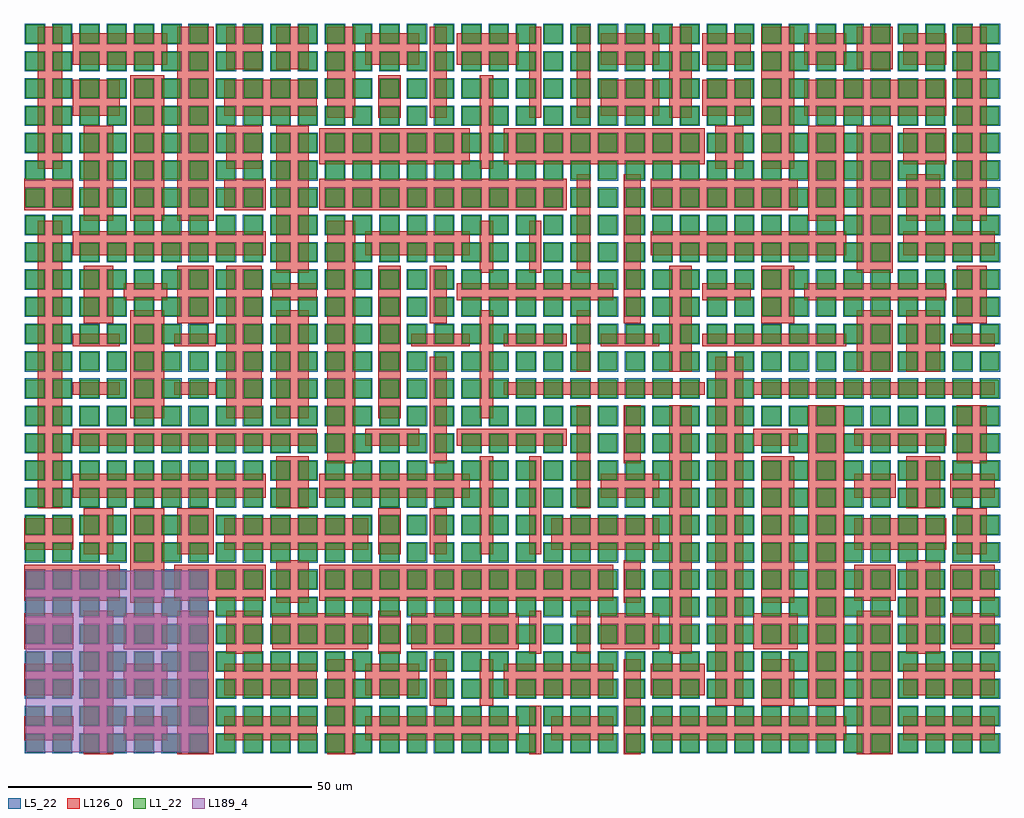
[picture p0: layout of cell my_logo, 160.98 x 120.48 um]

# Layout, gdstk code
import gdstk
lib = gdstk.Library(unit=1e-6, precision=1e-09)
def R(c, l, rs):  # rectangles x0, y0, x1, y1
    for r in rs: c.add(gdstk.rectangle(r[:2], r[2:], *l))
def A(c, l, x, y, w, h, nx, ny, dx, dy):  # array of equal rectangles
    R(c, l, [(x+i*dx, y+j*dy, x+i*dx+w, y+j*dy+h) for i in range(nx) for j in range(ny)])
L1_22 = (1, 22)
L5_22 = (5, 22)
L126_0 = (126, 0)
L189_4 = (189, 4)

my_logo = lib.new_cell('my_logo')
A(my_logo, L1_22, 0, 0, 3, 3, 36, 27, 4.5, 4.5)
A(my_logo, L5_22, -0.18, -0.18, 3.36, 3.36, 36, 27, 4.5, 4.5)
R(my_logo, L126_0, [(9.546,-0.3,14.454,23.349), (25.012,-0.3,30.988,23.349), (49.691,-0.3,54.309,15.349), (83,-0.3,85,7.712), (98.588,-0.3,101.412,15.349), (137.012,-0.3,142.988,23.349), (-0.3,2,7.846,6), (16.154,2,23.312,6), (32.688,2,47.991,6), (56.009,2,81.3,6), (86.7,2,96.888,6), (103.112,2,135.312,6), (144.688,2,159.846,6), (66.588,7.7,69.412,15.349), (74.891,7.7,77.109,15.349), (113.691,7.7,118.309,65.251), (121.293,7.7,126.707,15.349), (129.049,7.7,134.951,57.251), (-0.3,9.412,7.846,14.588), (16.154,9.412,23.312,14.588), (32.688,9.412,47.991,14.588), (56.009,9.412,64.888,14.588), (78.809,9.412,96.888,14.588), (103.112,9.412,111.991,14.588), (144.688,9.412,159.846,14.588), (33.049,16.288,38.951,23.349), (58.156,16.288,61.844,23.349), (83,16.288,85,23.349), (90.891,16.288,93.109,23.349), (106.156,16.288,109.844,57.251), (145.191,16.288,150.809,31.712), (-0.3,17.049,7.846,22.951), (16.154,17.049,23.312,22.951), (40.651,17.049,56.456,22.951), (63.544,17.049,81.3,22.951), (94.809,17.049,104.456,22.951), (120.009,17.049,127.349,22.951), (152.509,17.049,159.846,22.951), (17.191,24.651,22.809,40.3), (41.293,24.651,46.707,31.712), (98.588,24.651,101.412,31.712), (121.293,24.651,126.707,48.888), (-0.3,25.049,15.491,30.951), (24.509,25.049,39.593,30.951), (48.407,25.049,96.888,30.951), (136.651,25.049,143.491,30.951), (152.509,25.049,159.846,30.951), (9.546,32.651,14.454,40.3), (25.012,32.651,30.988,40.3), (58.156,32.651,61.844,40.3), (66.588,32.651,69.412,40.3), (74.891,32.651,77.109,48.888), (83,32.651,85,48.888), (153.546,32.651,158.454,40.3), (-0.3,33.412,7.846,38.588), (32.688,33.412,56.456,38.588), (86.7,33.412,104.456,38.588), (136.651,33.412,151.846,38.588), (2,40.288,6,87.712), (41.293,40.288,46.707,48.888), (90.891,40.288,93.109,57.251), (145.191,40.288,150.809,48.888), (7.7,42,39.593,46), (48.407,42,73.191,46), (94.809,42,104.456,46), (136.651,42,143.491,46), (152.509,42,159.846,46), (49.691,47.7,54.309,87.712), (66.588,47.7,69.412,65.251), (98.588,47.7,101.412,57.251), (153.546,47.7,158.454,57.251), (7.7,50.588,47.991,53.412), (56.009,50.588,64.888,53.412), (71.112,50.588,89.191,53.412), (120.009,50.588,127.349,53.412), (136.651,50.588,151.846,53.412), (17.191,55.112,22.809,72.888), (33.049,55.112,38.951,80.3), (41.293,55.112,46.707,72.888), (58.156,55.112,61.844,80.3), (74.891,55.112,77.109,72.888), (7.7,58.951,15.491,61.049), (24.509,58.951,31.349,61.049), (78.809,58.951,111.991,61.049), (120.009,58.951,159.846,61.049), (90.891,62.749,93.109,72.888), (106.156,62.749,109.844,80.3), (137.012,62.749,142.988,72.888), (145.191,62.749,150.809,72.888), (7.7,66.951,15.491,69.049), (24.509,66.951,31.349,69.049), (63.544,66.951,73.191,69.049), (78.809,66.951,89.191,69.049), (94.809,66.951,104.456,69.049), (111.544,66.951,135.312,69.049), (152.509,66.951,159.846,69.049), (9.546,70.749,14.454,80.3), (25.012,70.749,30.988,80.3), (66.588,70.749,69.412,80.3), (98.588,70.749,101.412,95.349), (121.293,70.749,126.707,80.3), (153.546,70.749,158.454,80.3), (16.154,74.588,23.312,77.412), (40.651,74.588,47.991,77.412), (71.112,74.588,96.888,77.412), (111.544,74.588,119.593,77.412), (128.407,74.588,151.846,77.412), (41.293,79.112,46.707,103.349), (74.891,79.112,77.109,87.712), (83,79.112,85,87.712), (90.891,79.112,93.109,95.349), (137.012,79.112,142.988,103.349), (7.7,82,39.593,86), (56.009,82,73.191,86), (103.112,82,135.312,86), (144.688,82,159.846,86), (9.546,87.7,14.454,103.349), (17.191,87.7,22.809,111.712), (25.012,87.7,30.988,119.712), (129.049,87.7,134.951,103.349), (145.191,87.7,150.809,95.349), (153.546,87.7,158.454,119.712), (-0.3,89.412,7.846,94.588), (32.688,89.412,39.593,94.588), (48.407,89.412,89.191,94.588), (103.112,89.412,127.349,94.588), (2,96.288,6,119.712), (33.049,96.288,38.951,103.349), (74.891,96.288,77.109,111.712), (113.691,96.288,118.309,103.349), (121.293,96.288,126.707,119.712), (48.407,97.049,73.191,102.951), (78.809,97.049,111.991,102.951), (144.688,97.049,151.846,102.951), (49.691,104.651,54.309,119.712), (58.156,104.651,61.844,111.712), (66.588,104.651,69.412,119.712), (83,104.651,85,119.712), (90.891,104.651,93.109,119.712), (106.156,104.651,109.844,119.712), (7.7,105.049,15.491,110.951), (32.688,105.049,47.991,110.951), (94.809,105.049,104.456,110.951), (111.544,105.049,119.593,110.951), (128.407,105.049,151.846,110.951), (33.049,112.651,38.951,119.712), (41.293,112.651,46.707,119.712), (137.012,112.651,142.988,119.712), (7.7,113.412,23.312,118.588), (56.009,113.412,64.888,118.588), (71.112,113.412,81.3,118.588), (94.809,113.412,104.456,118.588), (111.544,113.412,119.593,118.588), (128.407,113.412,135.312,118.588), (144.688,113.412,151.846,118.588)])
R(my_logo, L189_4, [(0,0,30,30)])

lib.write_gds('my_logo.gds')
